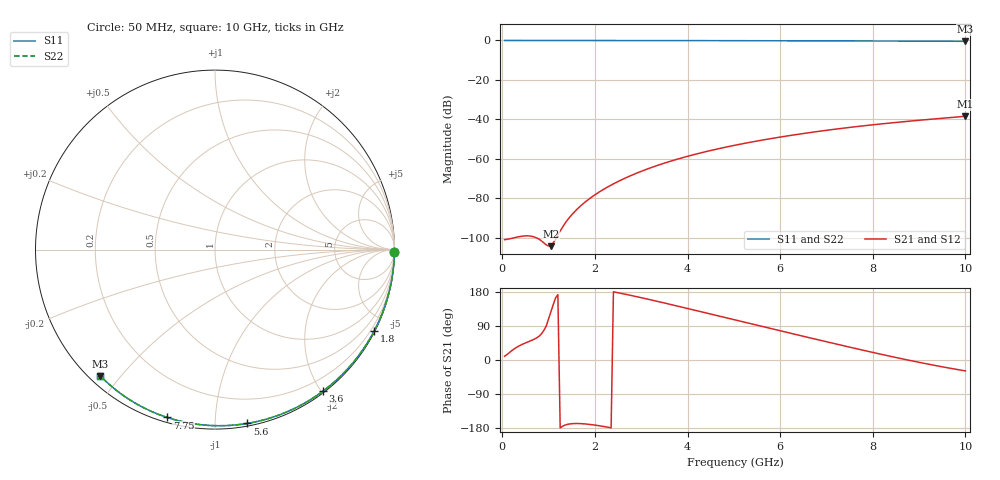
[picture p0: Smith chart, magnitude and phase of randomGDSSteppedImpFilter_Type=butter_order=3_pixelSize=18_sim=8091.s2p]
! freq	dB(S11)	phase(S11)	dB(S12)	phase(S12)
!  dB(S21)	phase(S21)	dB(S22)	phase(S22)
!S-par simulation data
#  GHz  S  DB  R 50
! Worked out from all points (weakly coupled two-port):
!   200 points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, 50 MHz to 10 GHz, reference 50 ohm
!   highest |S21| = -38.44 dB at 10 GHz (marker M1); lowest = -104.3 dB at 1.05 GHz (marker M2)
!   lowest |S11| = -0.4 dB at 10 GHz (marker M3), VSWR 39.28, Z = 1.52 - j22.1 ohm
!   |S11| at or under -10 dB: nowhere
!   |S22| runs from -0.4 to 0.0 dB; largest |S21 - S12| = 0
!   S11 on the Smith chart (normalised r, x): 50 MHz: open; 1.8 GHz: 0.04, -4.17; 3.6 GHz: 0.02, -2.02; 5.6 GHz: 0.02, -1.20; 7.75 GHz: 0.02, -0.75; 10 GHz: 0.03, -0.44
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0.05  -0.00 -0.8  -101.00 10.0  -101.00 10.0  -0.00 -0.8
0.55  -0.01 -8.4  -99.09 47.6  -99.09 47.6  -0.01 -8.4
1.05  -0.02 -15.9  -104.31 127.5  -104.31 127.5  -0.02 -15.9
1.75  -0.03 -26.2  -82.69 -168.3  -82.69 -168.3  -0.03 -26.2
1.8  -0.03 -27.0  -81.72 -168.8  -81.72 -168.8  -0.03 -27.0
1.9  -0.04 -28.5  -79.93 -170.2  -79.93 -170.2  -0.04 -28.5
2.05  -0.04 -30.6  -77.49 -172.7  -77.49 -172.7  -0.04 -30.6
2.25  -0.04 -33.6  -74.63 -176.7  -74.63 -176.7  -0.04 -33.6
2.45  -0.05 -36.5  -72.10 178.7  -72.10 178.7  -0.05 -36.5
2.65  -0.05 -39.3  -69.83 173.8  -69.83 173.8  -0.05 -39.3
3  -0.06 -44.3  -66.36 164.5  -66.36 164.5  -0.06 -44.3
3.4  -0.07 -50.0  -62.97 153.3  -62.97 153.3  -0.07 -50.0
3.6  -0.07 -52.8  -61.46 147.6  -61.46 147.6  -0.07 -52.8
4.3  -0.09 -62.4  -56.92 127.1  -56.92 127.1  -0.09 -62.4
5.05  -0.11 -72.3  -53.00 105.0  -53.00 105.0  -0.11 -72.3
5.6  -0.13 -79.5  -50.57 88.8  -50.57 88.8  -0.13 -79.5
6.15  -0.15 -86.4  -48.43 72.7  -48.43 72.7  -0.15 -86.4
6.7  -0.18 -93.3  -46.51 56.8  -46.51 56.8  -0.18 -93.3
7.75  -0.24 -105.9  -43.41 26.9  -43.41 26.9  -0.24 -105.9
8.35  -0.29 -113.0  -41.92 10.5  -41.92 10.5  -0.29 -113.0
9.15  -0.35 -122.3  -40.16 -9.8  -40.16 -9.8  -0.35 -122.3
10  -0.44 -132.2  -38.44 -28.7  -38.44 -28.7  -0.44 -132.2
